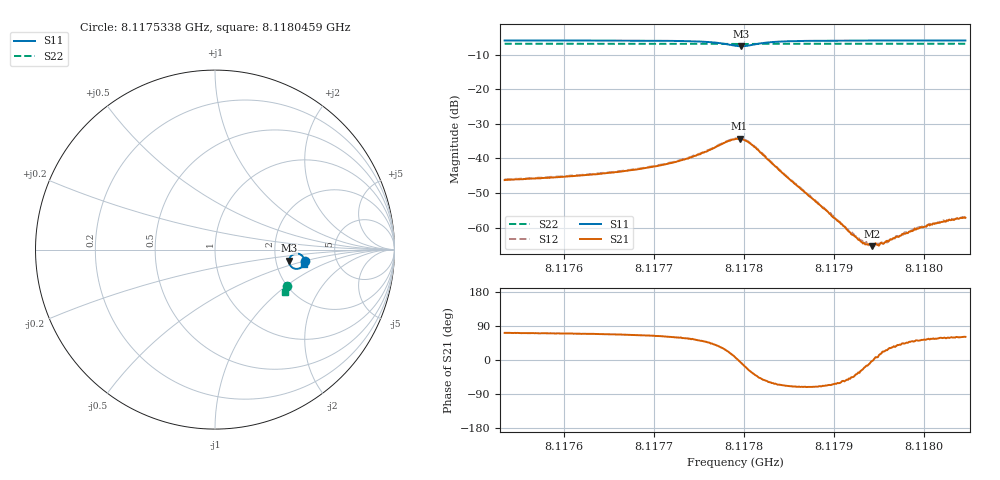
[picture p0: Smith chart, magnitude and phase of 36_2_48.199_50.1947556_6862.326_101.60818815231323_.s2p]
#  HZ  S  RI  R  50.00
! Rohde & Schwarz Vector Network Analyzer
! Rohde-Schwarz,ZNB20-2Port,1311601062101988,3.16
! Created: UTC 3/20/2024, 11:37:40 AM
! freq[Hz]  re:S11  im:S11  re:S21  im:S21  re:S12  im:S12  re:S22  im:S22
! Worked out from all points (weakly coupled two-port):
!   401 points, 8.1175338 GHz to 8.1180459 GHz, reference 50 ohm
!   highest |S21| = -34.34 dB at 8.1177949 GHz (marker M1); lowest = -65.3 dB at 8.1179422 GHz (marker M2)
!   lowest |S11| = -7.6 dB at 8.1177962 GHz (marker M3), VSWR 2.43, Z = 118 - j17.5 ohm
!   |S11| at or under -10 dB: nowhere
!   |S22| runs from -7.0 to -6.9 dB; largest |S21 - S12| = 0.00057
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8.1175338e9  0.5013 -0.0611  0.00154 0.00461  0.00164 0.00468  0.4035 -0.2042
8.11761957e9  0.4989 -0.0712  0.00204 0.00531  0.00212 0.00539  0.4009 -0.2097
8.11767334e9  0.496 -0.0795  0.00267 0.00616  0.0028 0.00624  0.3992 -0.2132
8.11770534e9  0.4923 -0.0866  0.00355 0.00701  0.00371 0.00713  0.398 -0.2153
8.1177399e9  0.4827 -0.0977  0.00573 0.00855  0.00606 0.00855  0.3964 -0.2179
8.11777319e9  0.4492 -0.1071  0.0129 0.00888  0.0133 0.00889  0.3939 -0.2198
8.11778983e9  0.4162 -0.0829  0.0188 0.00245  0.0192 0.00245  0.3923 -0.2195
8.11779495e9  0.4124 -0.0657  0.0192 -0.00118  0.0195 -0.00148  0.3923 -0.219
8.11779623e9  0.4124 -0.0612  0.0189 -0.00215  0.0193 -0.00244  0.392 -0.2189
8.11780263e9  0.4202 -0.0399  0.0165 -0.00635  0.0168 -0.00674  0.3925 -0.2185
8.11781031e9  0.4388 -0.0252  0.0122 -0.00894  0.0124 -0.00919  0.3934 -0.2184
8.11783463e9  0.4813 -0.0308  0.00354 -0.00676  0.0035 -0.00696  0.3943 -0.2207
8.1178756e9  0.4964 -0.0523  0.000854 -0.0025  0.000853 -0.00253  0.3934 -0.2241
8.11792937e9  0.4989 -0.0662  0.000555 -0.000308  0.000556 -0.00035  0.3917 -0.228
8.11793577e9  0.4989 -0.0675  0.000554 -0.000148  0.000589 -0.000203  0.3915 -0.2284
8.11794217e9  0.499 -0.0687  0.000544 -2.61e-05  0.000552 6e-07  0.3914 -0.2287
8.11794729e9  0.499 -0.0694  0.000563 6.73e-05  0.000534 8.83e-05  0.3911 -0.2291
8.11796137e9  0.499 -0.0716  0.000555 0.000343  0.000592 0.000301  0.3905 -0.2301
8.11798057e9  0.4989 -0.0743  0.000585 0.0006  0.000629 0.000583  0.3899 -0.2314
8.11799593e9  0.4986 -0.0764  0.000623 0.000798  0.000618 0.000785  0.3895 -0.2323
8.11802794e9  0.4984 -0.0801  0.000691 0.00111  0.000685 0.00115  0.3884 -0.2343
8.11804586e9  0.4982 -0.0821  0.000669 0.00121  0.000726 0.00126  0.3878 -0.2355
